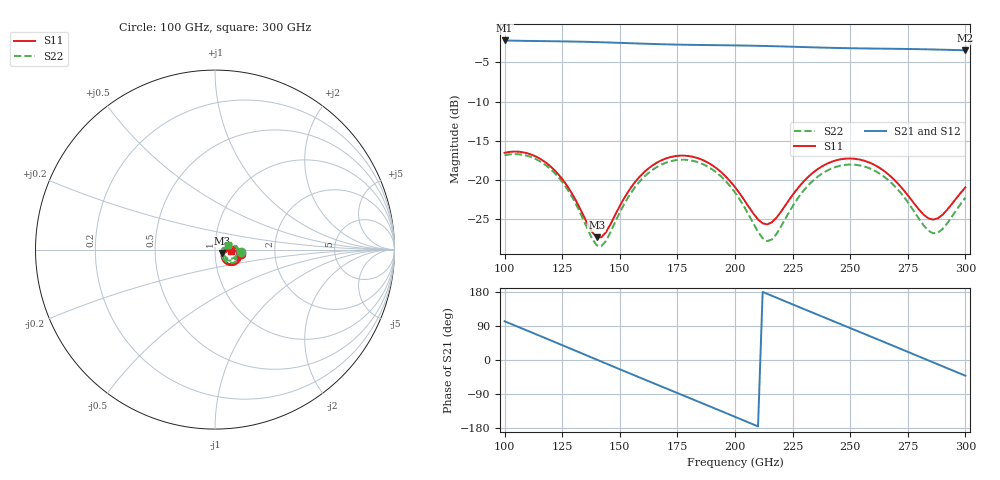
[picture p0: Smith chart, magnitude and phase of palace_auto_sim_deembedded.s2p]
! Created with skrf 1.11.0 (http://scikit-rf.org).
# GHz S DB R 50.0
!freq dBS11 angS11 dBS21 angS21 dBS12 angS12 dBS22 angS22
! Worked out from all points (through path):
!   101 points, 100 GHz to 300 GHz, reference 50 ohm
!   highest |S21| = -2.20 dB at 100 GHz (marker M1); lowest = -3.5 dB at 300 GHz (marker M2)
!   group delay of S21, straight-line fit = 6.99 ps
!   lowest |S11| = -27.3 dB at 140 GHz (marker M3), VSWR 1.09, Z = 54 - j2.09 ohm
!   |S11| at or under -10 dB: start of sweep to end of sweep
!   |S22| runs from -28.4 to -16.7 dB; largest |S21 - S12| = 8.3e-14
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100  -16.52 -10.5  -2.20 102.2  -2.20 102.2  -16.83 -5.2
108  -16.45 -25.0  -2.25 82.1  -2.25 82.1  -16.77 -19.4
116  -17.38 -38.9  -2.28 62.0  -2.28 62.0  -17.71 -33.0
126  -20.25 -52.1  -2.32 36.6  -2.32 36.6  -20.62 -46.4
134  -24.37 -50.4  -2.36 16.2  -2.36 16.2  -24.92 -45.5
140  -27.28 -26.5  -2.41 1.0  -2.41 1.0  -28.31 -20.8
144  -26.63 -3.7  -2.45 -9.2  -2.45 -9.2  -27.75 4.9
152  -22.24 12.4  -2.53 -29.5  -2.53 -29.5  -22.99 23.0
168  -17.48 -5.0  -2.68 -69.7  -2.68 -69.7  -18.02 5.8
176  -16.88 -18.3  -2.73 -89.7  -2.73 -89.7  -17.40 -7.5
184  -17.21 -31.5  -2.77 -109.7  -2.77 -109.7  -17.72 -20.9
200  -20.89 -49.9  -2.83 -150.0  -2.83 -150.0  -21.57 -41.2
214  -25.63 -22.1  -2.91 174.6  -2.91 174.6  -27.77 -11.3
224  -22.30 2.3  -2.99 149.3  -2.99 149.3  -23.81 21.2
234  -19.01 -2.4  -3.08 124.2  -3.08 124.2  -20.02 16.5
242  -17.65 -13.0  -3.14 104.2  -3.14 104.2  -18.50 5.6
250  -17.24 -25.2  -3.19 84.2  -3.19 84.2  -18.01 -6.9
258  -17.72 -37.2  -3.22 64.2  -3.22 64.2  -18.45 -19.3
268  -19.63 -48.9  -3.26 39.2  -3.26 39.2  -20.38 -32.0
278  -23.07 -48.2  -3.30 13.9  -3.30 13.9  -24.10 -33.0
286  -25.03 -27.1  -3.35 -6.2  -3.35 -6.2  -26.78 -10.2
300  -20.92 -3.3  -3.45 -41.5  -3.45 -41.5  -22.23 20.2
